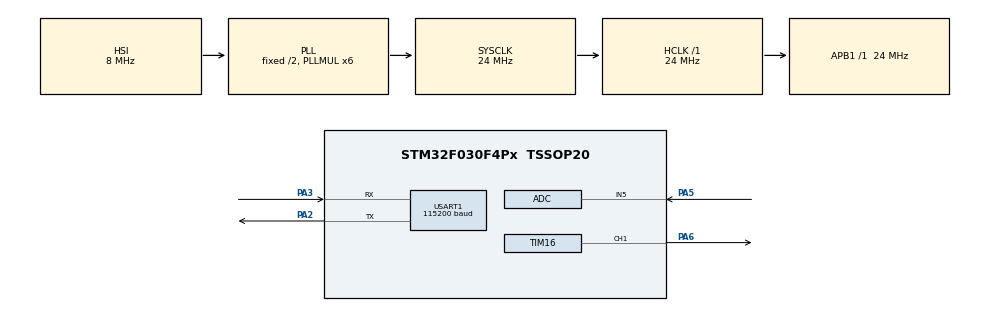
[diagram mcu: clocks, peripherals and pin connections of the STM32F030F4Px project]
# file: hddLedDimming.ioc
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ADC.ContinuousConvMode=ENABLE
ADC.EnableAnalogWatchDog=false
ADC.SamplingTime=ADC_SAMPLETIME_7CYCLES_5
Dma.ADC.0.Direction=DMA_PERIPH_TO_MEMORY
Dma.ADC.0.Instance=DMA1_Channel1
Dma.ADC.0.MemDataAlignment=DMA_MDATAALIGN_WORD
Dma.ADC.0.MemInc=DMA_MINC_ENABLE
Dma.ADC.0.Mode=DMA_CIRCULAR
Dma.ADC.0.PeriphDataAlignment=DMA_PDATAALIGN_WORD
Dma.ADC.0.PeriphInc=DMA_PINC_DISABLE
Dma.ADC.0.Priority=DMA_PRIORITY_HIGH
Dma.Request0=ADC
IWDG.Prescaler=IWDG_PRESCALER_32
Mcu.Family=STM32F0
Mcu.Name=STM32F030F4Px
Mcu.Package=TSSOP20
NVIC.ADC1_IRQn=true\:0\:0\:false\:false\:true\:true\:true
NVIC.DMA1_Channel1_IRQn=true\:0\:0\:false\:false\:true\:false\:true
PA13.Mode=Serial_Wire
PA13.Signal=SYS_SWDIO
PA14.Mode=Serial_Wire
PA14.Signal=SYS_SWCLK
PA2.Mode=Asynchronous
PA2.Signal=USART1_TX
PA3.Mode=Asynchronous
PA3.Signal=USART1_RX
PA5.Mode=IN5
PA5.Signal=ADC_IN5
PA6.Signal=S_TIM16_CH1
ProjectManager.HeapSize=0x200
ProjectManager.StackSize=0x400
ProjectManager.TargetToolchain=SW4STM32
RCC.AHBFreq_Value=24000000
RCC.APB1Freq_Value=24000000
RCC.APB1TimFreq_Value=24000000
RCC.HCLKFreq_Value=24000000
RCC.PLLMUL=RCC_PLL_MUL6
RCC.SYSCLKFreq_VALUE=24000000
RCC.SYSCLKSource=RCC_SYSCLKSOURCE_PLLCLK
RCC.Usart1ClockSelection=RCC_USART1CLKSOURCE_SYSCLK
SH.S_TIM16_CH1.0=TIM16_CH1,PWM Generation1 CH1
TIM16.Channel=TIM_CHANNEL_1
TIM16.OCIdleState_1=TIM_OCIDLESTATE_SET
TIM16.OCPolarity_1=TIM_OCPOLARITY_LOW
TIM16.Period=239
TIM16.Prescaler=1
USART1.BaudRate=115200
USART1.VirtualMode-Asynchronous=VM_ASYNC
VP_IWDG_VS_IWDG.Mode=IWDG_Activate
VP_TIM16_VS_ClockSourceINT.Mode=Enable_Timer
board=custom

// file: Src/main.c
/* USER CODE BEGIN Header */
/**
  ******************************************************************************
  * @file           : main.c
  * @brief          : Main program body
  ******************************************************************************
  * @attention
  *
  * <h2><center>&copy; Copyright (c) 2019 STMicroelectronics.
  * All rights reserved.</center></h2>
  *
  * This software component is licensed by ST under BSD 3-Clause license,
  * the "License"; You may not use this file except in compliance with the
  * License. You may obtain a copy of the License at:
  *                        opensource.org/licenses/BSD-3-Clause
  *
  ******************************************************************************
  */
/* USER CODE END Header */

#include "main.h"

/* USER CODE BEGIN Includes */
#include "string.h"
#include "malloc.h"
/* USER CODE END Includes */

/* USER CODE BEGIN PM */

#define PWM_COMP_MAX 239
#define SEND_BUFFER_LEN 64
#define ADC_VAL_ARR_LEN 256
#define MAX_ADC_VAL 1850

/* USER CODE END PM */

ADC_HandleTypeDef hadc;
DMA_HandleTypeDef hdma_adc;

IWDG_HandleTypeDef hiwdg;

TIM_HandleTypeDef htim16;

UART_HandleTypeDef huart1;

/* USER CODE BEGIN PV */
uint16_t pwmCompare = 0;
uint8_t *sendBuffer;
uint32_t adcValArr[ADC_VAL_ARR_LEN] = {0};

uint64_t tmpAdcAvgVal = 0;
uint32_t avgAdcVal = 0;

uint32_t lastSendTime = 0;
uint32_t lastUpdatePwmTime = 0;

/* USER CODE END PV */

void SystemClock_Config(void);

static void MX_GPIO_Init(void);

static void MX_DMA_Init(void);

static void MX_ADC_Init(void);

static void MX_IWDG_Init(void);

static void MX_TIM16_Init(void);

static void MX_USART1_UART_Init(void);

/* USER CODE BEGIN PFP */

void initSendBuffer(void) {
    for (int i = 0; i < SEND_BUFFER_LEN; ++i) {
        *(sendBuffer + i) = 0;
    }
}

void HAL_ADC_ConvCpltCallback(ADC_HandleTypeDef *hadc) {
    tmpAdcAvgVal = 0;
    for (int i = 0; i < ADC_VAL_ARR_LEN; ++i) {
        tmpAdcAvgVal += adcValArr[i];
    }
    avgAdcVal = tmpAdcAvgVal / ADC_VAL_ARR_LEN;
    pwmCompare = (int) (avgAdcVal * PWM_COMP_MAX / MAX_ADC_VAL);
    if (pwmCompare > PWM_COMP_MAX) pwmCompare = PWM_COMP_MAX;
    HAL_ADC_Start_DMA(hadc, &adcValArr[0], ADC_VAL_ARR_LEN);
}

/* USER CODE END PFP */

int main(void) {

    /* MCU Configuration--------------------------------------------------------*/

    /* Reset of all peripherals, Initializes the Flash interface and the Systick. */
    HAL_Init();

    /* Configure the system clock */
    SystemClock_Config();

    /* Initialize all configured peripherals */
    MX_GPIO_Init();
    MX_DMA_Init();
    MX_ADC_Init();
    MX_IWDG_Init();
    MX_TIM16_Init();
    MX_USART1_UART_Init();
    /* USER CODE BEGIN 2 */

    sendBuffer = malloc(SEND_BUFFER_LEN);
    if (sendBuffer == NULL)Error_Handler();
    initSendBuffer();

    HAL_ADC_Start_DMA(&hadc, &adcValArr[0], ADC_VAL_ARR_LEN);

    pwmCompare = 119;
    HAL_TIM_PWM_Start(&htim16, TIM_CHANNEL_1);
    __HAL_TIM_SET_COMPARE(&htim16, TIM_CHANNEL_1, pwmCompare);

    /* USER CODE END 2 */

    /* Infinite loop */
    /* USER CODE BEGIN WHILE */
    while (1) {

        if (lastSendTime > HAL_GetTick()) lastSendTime = 0;
        if (lastUpdatePwmTime > HAL_GetTick()) lastUpdatePwmTime = 0;

        HAL_IWDG_Refresh(&hiwdg);

        if ((HAL_GetTick() - lastSendTime) > 1000) {
            sprintf(sendBuffer, "avg adc val:%lu, pwm cmp:%lu/%d, duty cycle:%d%% \n", avgAdcVal, pwmCompare,
                    PWM_COMP_MAX, (int) (pwmCompare * 100 / PWM_COMP_MAX));
            HAL_UART_Transmit(&huart1, sendBuffer, strlen(sendBuffer), 0xf);
            initSendBuffer();
            lastSendTime = HAL_GetTick();
        }

        if ((HAL_GetTick() - lastUpdatePwmTime) > 10) {
            __HAL_TIM_SET_COMPARE(&htim16, TIM_CHANNEL_1, pwmCompare);
            lastUpdatePwmTime = HAL_GetTick();
        }

        /* USER CODE END WHILE */

    }
}

void SystemClock_Config(void) {
    RCC_OscInitTypeDef RCC_OscInitStruct = {0};
    RCC_ClkInitTypeDef RCC_ClkInitStruct = {0};
    RCC_PeriphCLKInitTypeDef PeriphClkInit = {0};

    /** Initializes the CPU, AHB and APB busses clocks
    */
    RCC_OscInitStruct.OscillatorType = RCC_OSCILLATORTYPE_HSI | RCC_OSCILLATORTYPE_HSI14
                                       | RCC_OSCILLATORTYPE_LSI;
    RCC_OscInitStruct.HSIState = RCC_HSI_ON;
    RCC_OscInitStruct.HSI14State = RCC_HSI14_ON;
    RCC_OscInitStruct.HSICalibrationValue = RCC_HSICALIBRATION_DEFAULT;
    RCC_OscInitStruct.HSI14CalibrationValue = 16;
    RCC_OscInitStruct.LSIState = RCC_LSI_ON;
    RCC_OscInitStruct.PLL.PLLState = RCC_PLL_ON;
    RCC_OscInitStruct.PLL.PLLSource = RCC_PLLSOURCE_HSI;
    RCC_OscInitStruct.PLL.PLLMUL = RCC_PLL_MUL6;
    RCC_OscInitStruct.PLL.PREDIV = RCC_PREDIV_DIV1;
    if (HAL_RCC_OscConfig(&RCC_OscInitStruct) != HAL_OK) {
        Error_Handler();
    }
    /** Initializes the CPU, AHB and APB busses clocks
    */
    RCC_ClkInitStruct.ClockType = RCC_CLOCKTYPE_HCLK | RCC_CLOCKTYPE_SYSCLK
                                  | RCC_CLOCKTYPE_PCLK1;
    RCC_ClkInitStruct.SYSCLKSource = RCC_SYSCLKSOURCE_PLLCLK;
    RCC_ClkInitStruct.AHBCLKDivider = RCC_SYSCLK_DIV1;
    RCC_ClkInitStruct.APB1CLKDivider = RCC_HCLK_DIV1;

    if (HAL_RCC_ClockConfig(&RCC_ClkInitStruct, FLASH_LATENCY_0) != HAL_OK) {
        Error_Handler();
    }
    PeriphClkInit.PeriphClockSelection = RCC_PERIPHCLK_USART1;
    PeriphClkInit.Usart1ClockSelection = RCC_USART1CLKSOURCE_SYSCLK;
    if (HAL_RCCEx_PeriphCLKConfig(&PeriphClkInit) != HAL_OK) {
        Error_Handler();
    }
}

static void MX_ADC_Init(void) {

    ADC_ChannelConfTypeDef sConfig = {0};

    /** Configure the global features of the ADC (Clock, Resolution, Data Alignment and number of conversion)
    */
    hadc.Instance = ADC1;
    hadc.Init.ClockPrescaler = ADC_CLOCK_ASYNC_DIV1;
    hadc.Init.Resolution = ADC_RESOLUTION_12B;
    hadc.Init.DataAlign = ADC_DATAALIGN_RIGHT;
    hadc.Init.ScanConvMode = ADC_SCAN_DIRECTION_FORWARD;
    hadc.Init.EOCSelection = ADC_EOC_SINGLE_CONV;
    hadc.Init.LowPowerAutoWait = DISABLE;
    hadc.Init.LowPowerAutoPowerOff = DISABLE;
    hadc.Init.ContinuousConvMode = ENABLE;
    hadc.Init.DiscontinuousConvMode = DISABLE;
    hadc.Init.ExternalTrigConv = ADC_SOFTWARE_START;
    hadc.Init.ExternalTrigConvEdge = ADC_EXTERNALTRIGCONVEDGE_NONE;
    hadc.Init.DMAContinuousRequests = DISABLE;
    hadc.Init.Overrun = ADC_OVR_DATA_PRESERVED;
    if (HAL_ADC_Init(&hadc) != HAL_OK) {
        Error_Handler();
    }
    /** Configure for the selected ADC regular channel to be converted.
    */
    sConfig.Channel = ADC_CHANNEL_5;
    sConfig.Rank = ADC_RANK_CHANNEL_NUMBER;
    sConfig.SamplingTime = ADC_SAMPLETIME_7CYCLES_5;
    if (HAL_ADC_ConfigChannel(&hadc, &sConfig) != HAL_OK) {
        Error_Handler();
    }

}

static void MX_IWDG_Init(void) {

    hiwdg.Instance = IWDG;
    hiwdg.Init.Prescaler = IWDG_PRESCALER_32;
    hiwdg.Init.Window = 4095;
    hiwdg.Init.Reload = 4095;
    if (HAL_IWDG_Init(&hiwdg) != HAL_OK) {
        Error_Handler();
    }

}

static void MX_TIM16_Init(void) {

    TIM_OC_InitTypeDef sConfigOC = {0};
    TIM_BreakDeadTimeConfigTypeDef sBreakDeadTimeConfig = {0};

    htim16.Instance = TIM16;
    htim16.Init.Prescaler = 1;
    htim16.Init.CounterMode = TIM_COUNTERMODE_UP;
    htim16.Init.Period = 239;
    htim16.Init.ClockDivision = TIM_CLOCKDIVISION_DIV1;
    htim16.Init.RepetitionCounter = 0;
    htim16.Init.AutoReloadPreload = TIM_AUTORELOAD_PRELOAD_DISABLE;
    if (HAL_TIM_Base_Init(&htim16) != HAL_OK) {
        Error_Handler();
    }
    if (HAL_TIM_PWM_Init(&htim16) != HAL_OK) {
        Error_Handler();
    }
    sConfigOC.OCMode = TIM_OCMODE_PWM1;
    sConfigOC.Pulse = 0;
    sConfigOC.OCPolarity = TIM_OCPOLARITY_LOW;
    sConfigOC.OCNPolarity = TIM_OCNPOLARITY_HIGH;
    sConfigOC.OCFastMode = TIM_OCFAST_DISABLE;
    sConfigOC.OCIdleState = TIM_OCIDLESTATE_SET;
    sConfigOC.OCNIdleState = TIM_OCNIDLESTATE_RESET;
    if (HAL_TIM_PWM_ConfigChannel(&htim16, &sConfigOC, TIM_CHANNEL_1) != HAL_OK) {
        Error_Handler();
    }
    sBreakDeadTimeConfig.OffStateRunMode = TIM_OSSR_DISABLE;
    sBreakDeadTimeConfig.OffStateIDLEMode = TIM_OSSI_DISABLE;
    sBreakDeadTimeConfig.LockLevel = TIM_LOCKLEVEL_OFF;
    sBreakDeadTimeConfig.DeadTime = 0;
    sBreakDeadTimeConfig.BreakState = TIM_BREAK_DISABLE;
    sBreakDeadTimeConfig.BreakPolarity = TIM_BREAKPOLARITY_HIGH;
    sBreakDeadTimeConfig.AutomaticOutput = TIM_AUTOMATICOUTPUT_DISABLE;
    if (HAL_TIMEx_ConfigBreakDeadTime(&htim16, &sBreakDeadTimeConfig) != HAL_OK) {
        Error_Handler();
    }
    HAL_TIM_MspPostInit(&htim16);

}

static void MX_USART1_UART_Init(void) {

    huart1.Instance = USART1;
    huart1.Init.BaudRate = 115200;
    huart1.Init.WordLength = UART_WORDLENGTH_8B;
    huart1.Init.StopBits = UART_STOPBITS_1;
    huart1.Init.Parity = UART_PARITY_NONE;
    huart1.Init.Mode = UART_MODE_TX_RX;
    huart1.Init.HwFlowCtl = UART_HWCONTROL_NONE;
    huart1.Init.OverSampling = UART_OVERSAMPLING_16;
    huart1.Init.OneBitSampling = UART_ONE_BIT_SAMPLE_DISABLE;
    huart1.AdvancedInit.AdvFeatureInit = UART_ADVFEATURE_NO_INIT;
    if (HAL_UART_Init(&huart1) != HAL_OK) {
        Error_Handler();
    }

}

static void MX_DMA_Init(void) {

    /* DMA controller clock enable */
    __HAL_RCC_DMA1_CLK_ENABLE();

    /* DMA interrupt init */
    /* DMA1_Channel1_IRQn interrupt configuration */
    HAL_NVIC_SetPriority(DMA1_Channel1_IRQn, 0, 0);
    HAL_NVIC_EnableIRQ(DMA1_Channel1_IRQn);

}

static void MX_GPIO_Init(void) {

    /* GPIO Ports Clock Enable */
    __HAL_RCC_GPIOA_CLK_ENABLE();

}

void Error_Handler(void) {
    /* USER CODE BEGIN Error_Handler_Debug */
    /* User can add his own implementation to report the HAL error return state */
    while (1);
    /* USER CODE END Error_Handler_Debug */
}

/************************ (C) COPYRIGHT STMicroelectronics *****END OF FILE****/
